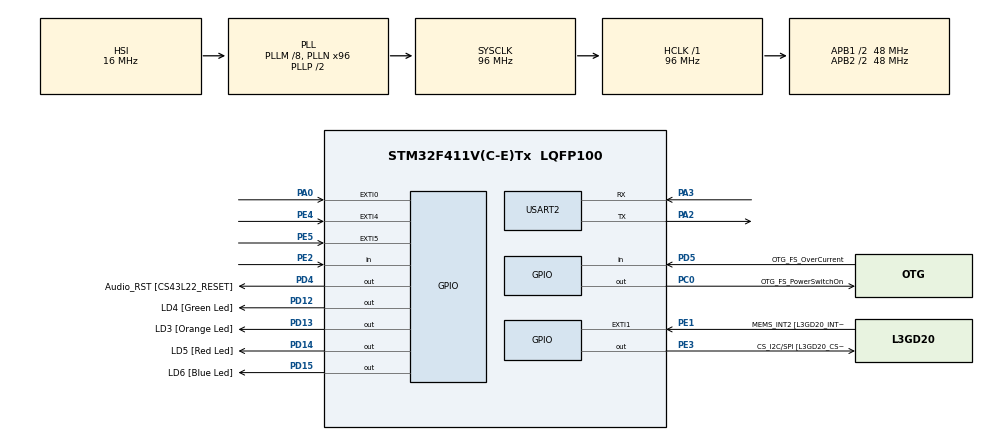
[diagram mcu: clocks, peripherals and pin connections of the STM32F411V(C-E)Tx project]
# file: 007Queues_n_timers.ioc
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Mcu.Family=STM32F4
Mcu.Name=STM32F411V(C-E)Tx
Mcu.Package=LQFP100
NVIC.EXTI0_IRQn=true\:6\:0\:true\:false\:true\:true\:true\:true
NVIC.PriorityGroup=NVIC_PRIORITYGROUP_4
NVIC.TIM5_IRQn=true\:0\:0\:false\:false\:true\:false\:true\:true
NVIC.TimeBase=TIM5_IRQn
NVIC.TimeBaseIP=TIM5
NVIC.USART2_IRQn=true\:0\:0\:false\:false\:true\:true\:true\:true
PA0-WKUP.GPIO_ModeDefaultEXTI=GPIO_MODE_IT_FALLING
PA0-WKUP.Signal=GPXTI0
PA10.GPIO_Label=OTG_FS_ID
PA10.Signal=USB_OTG_FS_ID
PA11.GPIO_Label=OTG_FS_DM
PA11.Signal=USB_OTG_FS_DM
PA12.GPIO_Label=OTG_FS_DP
PA12.Signal=USB_OTG_FS_DP
PA13.GPIO_Label=SWDIO
PA13.Signal=SYS_JTMS-SWDIO
PA14.GPIO_Label=SWCLK
PA14.Signal=SYS_JTCK-SWCLK
PA2.Mode=Asynchronous
PA2.Signal=USART2_TX
PA3.Mode=Asynchronous
PA3.Signal=USART2_RX
PA4.GPIO_Label=I2S3_WS [CS43L22_LRCK]
PA4.GPIO_Mode=GPIO_MODE_AF_PP
PA4.GPIO_PuPd=GPIO_NOPULL
PA4.GPIO_Speed=GPIO_SPEED_FREQ_LOW
PA4.Signal=I2S3_WS
PA5.GPIO_Label=SPI1_SCK [L3GD20_SC/SPC]
PA5.Signal=SPI1_SCK
PA6.GPIO_Label=SPI1_MISO [L3GD20_AS0/SDO]
PA6.Signal=SPI1_MISO
PA7.GPIO_Label=SPI1_MOSI [L3GD20_SDA/SDI/SDO]
PA7.Signal=SPI1_MOSI
PA9.GPIO_Label=VBUS_FS
PA9.Signal=USB_OTG_FS_VBUS
PB10.GPIO_Label=CLK_IN [MP45DT02_CLK]
PB10.Signal=I2S2_CK
PB12.Signal=I2S2_WS
PB3.GPIO_Label=SWO
PB3.Signal=SYS_JTDO-SWO
PB6.GPIO_Label=Audio_SCL [CS43L22_SCL]
PB6.GPIO_Mode=GPIO_MODE_AF_OD
PB6.GPIO_PuPd=GPIO_NOPULL
PB6.GPIO_Speed=GPIO_SPEED_FREQ_LOW
PB6.Signal=I2C1_SCL
PB9.GPIO_Label=Audio_SDA [CS43L22_SDA]
PB9.GPIO_Mode=GPIO_MODE_AF_OD
PB9.GPIO_PuPd=GPIO_NOPULL
PB9.GPIO_Speed=GPIO_SPEED_FREQ_LOW
PB9.Signal=I2C1_SDA
PC0.GPIO_Label=OTG_FS_PowerSwitchOn
PC0.PinState=GPIO_PIN_SET
PC0.Signal=GPIO_Output
PC10.GPIO_Label=I2S3_SCK [CS43L22_SCLK]
PC10.GPIO_Mode=GPIO_MODE_AF_PP
PC10.GPIO_PuPd=GPIO_NOPULL
PC10.GPIO_Speed=GPIO_SPEED_FREQ_LOW
PC10.Signal=I2S3_CK
PC12.GPIO_Label=I2S3_SD [CS43L22_SDIN]
PC12.GPIO_Mode=GPIO_MODE_AF_PP
PC12.GPIO_PuPd=GPIO_NOPULL
PC12.GPIO_Speed=GPIO_SPEED_FREQ_LOW
PC12.Signal=I2S3_SD
PC14-OSC32_IN.GPIO_Label=PC14-OSC32_IN
PC14-OSC32_IN.Signal=RCC_OSC32_IN
PC15-OSC32_OUT.GPIO_Label=PC15-OSC32_OUT
PC15-OSC32_OUT.Signal=RCC_OSC32_OUT
PC3.GPIO_Label=PDM_OUT [MP45DT02_DOUT]
PC3.Signal=I2S2_SD
PC7.GPIO_Label=I2S3_MCK [CS43L22_MCLK]
PC7.GPIO_Mode=GPIO_MODE_AF_PP
PC7.GPIO_PuPd=GPIO_NOPULL
PC7.GPIO_Speed=GPIO_SPEED_FREQ_LOW
PC7.Signal=I2S3_MCK
PD12.GPIO_Label=LD4 [Green Led]
PD12.GPIO_PuPd=GPIO_NOPULL
PD12.GPIO_Speed=GPIO_SPEED_FREQ_LOW
PD12.Signal=GPIO_Output
PD13.GPIO_Label=LD3 [Orange Led]
PD13.GPIO_PuPd=GPIO_NOPULL
PD13.GPIO_Speed=GPIO_SPEED_FREQ_LOW
PD13.Signal=GPIO_Output
PD14.GPIO_Label=LD5 [Red Led]
PD14.GPIO_PuPd=GPIO_NOPULL
PD14.GPIO_Speed=GPIO_SPEED_FREQ_LOW
PD14.Signal=GPIO_Output
PD15.GPIO_Label=LD6 [Blue Led]
PD15.GPIO_PuPd=GPIO_NOPULL
PD15.GPIO_Speed=GPIO_SPEED_FREQ_LOW
PD15.Signal=GPIO_Output
PD4.GPIO_Label=Audio_RST [CS43L22_RESET]
PD4.Signal=GPIO_Output
PD5.GPIO_Label=OTG_FS_OverCurrent
PD5.Signal=GPIO_Input
PE1.GPIO_Label=MEMS_INT2 [L3GD20_INT2]
PE1.GPIO_ModeDefaultEXTI=GPIO_MODE_EVT_RISING
PE1.Signal=GPXTI1
PE2.Signal=GPIO_Input
PE3.GPIO_Label=CS_I2C/SPI [L3GD20_CS_I2C/SPI]
PE3.Signal=GPIO_Output
PE4.GPIO_ModeDefaultEXTI=GPIO_MODE_EVT_RISING
PE4.Signal=GPXTI4
PE5.GPIO_ModeDefaultEXTI=GPIO_MODE_EVT_RISING
PE5.Signal=GPXTI5
PH0\ -\ OSC_IN.GPIO_Label=PH0-OSC_IN
PH0\ -\ OSC_IN.Signal=RCC_OSC_IN
PH1\ -\ OSC_OUT.GPIO_Label=PH1-OSC_OUT
PH1\ -\ OSC_OUT.Signal=RCC_OSC_OUT
ProjectManager.HeapSize=0x200
ProjectManager.StackSize=0x400
ProjectManager.TargetToolchain=STM32CubeIDE
RCC.48MHZClocksFreq_Value=24000000
RCC.AHBFreq_Value=96000000
RCC.APB1CLKDivider=RCC_HCLK_DIV2
RCC.APB1Freq_Value=48000000
RCC.APB1TimFreq_Value=96000000
RCC.APB2CLKDivider=RCC_HCLK_DIV2
RCC.APB2Freq_Value=48000000
RCC.APB2TimFreq_Value=96000000
RCC.CortexFreq_Value=96000000
RCC.HCLKFreq_Value=96000000
RCC.HSE_VALUE=8000000
RCC.HSI_VALUE=16000000
RCC.LSE_VALUE=32768
RCC.PLLI2SM=5
RCC.PLLI2SN=200
RCC.PLLM=8
RCC.PLLN=96
RCC.PLLQ=8
RCC.SYSCLKFreq_VALUE=96000000
RCC.SYSCLKSource=RCC_SYSCLKSOURCE_PLLCLK
RCC.VCOOutputFreq_Value=192000000
RTC.HourFormat=RTC_HOURFORMAT_12
USART2.VirtualMode=VM_ASYNC
VP_RTC_VS_RTC_Activate.Mode=RTC_Enabled
VP_SYS_VS_tim5.Mode=TIM5
board=STM32F411E-DISCO

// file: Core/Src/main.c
/* USER CODE BEGIN Header */
/**
  ******************************************************************************
  * @file           : main.c
  * @brief          : Main program body
  ******************************************************************************
  * @attention
  *
  * Copyright (c) 2024 STMicroelectronics.
  * All rights reserved.
  *
  * This software is licensed under terms that can be found in the LICENSE file
  * in the root directory of this software component.
  * If no LICENSE file comes with this software, it is provided AS-IS.
  *
  ******************************************************************************
  */
/* USER CODE END Header */
#include "main.h"

RTC_HandleTypeDef hrtc;
UART_HandleTypeDef huart2;

/* USER CODE BEGIN PV */
#define DWT_CTRL 				(*(volatile uint32_t *)0xE0001000)
/* USER CODE END PV */

void SystemClock_Config(void);
void led_effect_cb(TimerHandle_t xTimer);
void rtc_report_callback(TimerHandle_t xTimer);
static void MX_GPIO_Init(void);
static void MX_RTC_Init(void);
static void MX_USART2_UART_Init(void);

/* USER CODE BEGIN 0 */
TaskHandle_t handle_menu_task;
TaskHandle_t handle_cmd_task;
TaskHandle_t handle_print_task;
TaskHandle_t handle_led_task;
TaskHandle_t handle_rtc_task;

xQueueHandle qdata;
xQueueHandle qprint;

volatile uint8_t user_data;

state_t curr_state = sMainMenu;

TimerHandle_t handle_led_timer[4];
TimerHandle_t rtc_timer;
/* USER CODE END 0 */

int main(void)
{

  /* USER CODE BEGIN 1 */
  BaseType_t status;
  /* USER CODE END 1 */

  /* MCU Configuration--------------------------------------------------------*/

  /* Reset of all peripherals, Initializes the Flash interface and the Systick. */
  HAL_Init();

  /* Configure the system clock */
  SystemClock_Config();

  /* Initialize all configured peripherals */
  MX_GPIO_Init();
  MX_RTC_Init();
  MX_USART2_UART_Init();
  /* USER CODE BEGIN 2 */
  DWT_CTRL |= ( 1 << 0 );	// Enable the CyCCNT counter
  SEGGER_SYSVIEW_Conf();
  SEGGER_SYSVIEW_Start();	// Single-shot viewer

  status = xTaskCreate(menu_task, "menu_task", 250, NULL, 2, &handle_menu_task);
  configASSERT(status == pdPASS);

  status = xTaskCreate(cmd_handler_task, "cmd_task", 250, NULL, 2, &handle_cmd_task);
  configASSERT(status == pdPASS);

  status = xTaskCreate(print_task, "print_task", 250, NULL, 2, &handle_print_task);
  configASSERT(status == pdPASS);

  status = xTaskCreate(led_task, "led_task", 250, NULL, 2, &handle_led_task);
  configASSERT(status == pdPASS);

  status = xTaskCreate(rtc_task, "rtc_task", 250, NULL, 2, &handle_rtc_task);
  configASSERT(status == pdPASS);

  qdata = xQueueCreate(10, sizeof(char));
  configASSERT(qdata != NULL);

  qprint = xQueueCreate(10, sizeof(size_t));
  configASSERT(qprint != NULL);

  // Create software timer for LED effects
  for(int i = 0 ; i < 4 ; i++)
	 handle_led_timer[i] = xTimerCreate("led_timer", pdMS_TO_TICKS(500), pdTRUE, (void *)(i+1), led_effect_cb);

  rtc_timer = xTimerCreate ("rtc_report_timer", pdMS_TO_TICKS(1000), pdTRUE,NULL, rtc_report_callback);

  HAL_UART_Receive_IT(&huart2, (uint8_t *)&user_data, 1);

  vTaskStartScheduler();

  /* USER CODE END 2 */

  /* Infinite loop */
  while (1)
  {

  }
}

void SystemClock_Config(void)
{
  RCC_OscInitTypeDef RCC_OscInitStruct = {0};
  RCC_ClkInitTypeDef RCC_ClkInitStruct = {0};

  /** Configure the main internal regulator output voltage
  */
  __HAL_RCC_PWR_CLK_ENABLE();
  __HAL_PWR_VOLTAGESCALING_CONFIG(PWR_REGULATOR_VOLTAGE_SCALE1);

  /** Initializes the RCC Oscillators according to the specified parameters
  * in the RCC_OscInitTypeDef structure.
  */
  RCC_OscInitStruct.OscillatorType = RCC_OSCILLATORTYPE_HSI|RCC_OSCILLATORTYPE_LSI;
  RCC_OscInitStruct.HSIState = RCC_HSI_ON;
  RCC_OscInitStruct.HSICalibrationValue = RCC_HSICALIBRATION_DEFAULT;
  RCC_OscInitStruct.LSIState = RCC_LSI_ON;
  RCC_OscInitStruct.PLL.PLLState = RCC_PLL_ON;
  RCC_OscInitStruct.PLL.PLLSource = RCC_PLLSOURCE_HSI;
  RCC_OscInitStruct.PLL.PLLM = 8;
  RCC_OscInitStruct.PLL.PLLN = 96;
  RCC_OscInitStruct.PLL.PLLP = RCC_PLLP_DIV2;
  RCC_OscInitStruct.PLL.PLLQ = 8;
  if (HAL_RCC_OscConfig(&RCC_OscInitStruct) != HAL_OK)
  {
    Error_Handler();
  }

  /** Initializes the CPU, AHB and APB buses clocks
  */
  RCC_ClkInitStruct.ClockType = RCC_CLOCKTYPE_HCLK|RCC_CLOCKTYPE_SYSCLK
                              |RCC_CLOCKTYPE_PCLK1|RCC_CLOCKTYPE_PCLK2;
  RCC_ClkInitStruct.SYSCLKSource = RCC_SYSCLKSOURCE_PLLCLK;
  RCC_ClkInitStruct.AHBCLKDivider = RCC_SYSCLK_DIV1;
  RCC_ClkInitStruct.APB1CLKDivider = RCC_HCLK_DIV2;
  RCC_ClkInitStruct.APB2CLKDivider = RCC_HCLK_DIV2;

  if (HAL_RCC_ClockConfig(&RCC_ClkInitStruct, FLASH_LATENCY_3) != HAL_OK)
  {
    Error_Handler();
  }
}

static void MX_RTC_Init(void)
{

  /** Initialize RTC Only
  */
  hrtc.Instance = RTC;
  hrtc.Init.HourFormat = RTC_HOURFORMAT_12;
  hrtc.Init.AsynchPrediv = 127;
  hrtc.Init.SynchPrediv = 255;
  hrtc.Init.OutPut = RTC_OUTPUT_DISABLE;
  hrtc.Init.OutPutPolarity = RTC_OUTPUT_POLARITY_HIGH;
  hrtc.Init.OutPutType = RTC_OUTPUT_TYPE_OPENDRAIN;
  if (HAL_RTC_Init(&hrtc) != HAL_OK)
  {
    Error_Handler();
  }

}

static void MX_USART2_UART_Init(void)
{

  huart2.Instance = USART2;
  huart2.Init.BaudRate = 115200;
  huart2.Init.WordLength = UART_WORDLENGTH_8B;
  huart2.Init.StopBits = UART_STOPBITS_1;
  huart2.Init.Parity = UART_PARITY_NONE;
  huart2.Init.Mode = UART_MODE_TX_RX;
  huart2.Init.HwFlowCtl = UART_HWCONTROL_NONE;
  huart2.Init.OverSampling = UART_OVERSAMPLING_16;
  if (HAL_UART_Init(&huart2) != HAL_OK)
  {
    Error_Handler();
  }

}

static void MX_GPIO_Init(void)
{
  GPIO_InitTypeDef GPIO_InitStruct = {0};

  /* GPIO Ports Clock Enable */
  __HAL_RCC_GPIOE_CLK_ENABLE();
  __HAL_RCC_GPIOC_CLK_ENABLE();
  __HAL_RCC_GPIOH_CLK_ENABLE();
  __HAL_RCC_GPIOA_CLK_ENABLE();
  __HAL_RCC_GPIOB_CLK_ENABLE();
  __HAL_RCC_GPIOD_CLK_ENABLE();

  /*Configure GPIO pin Output Level */
  HAL_GPIO_WritePin(CS_I2C_SPI_GPIO_Port, CS_I2C_SPI_Pin, GPIO_PIN_RESET);

  /*Configure GPIO pin Output Level */
  HAL_GPIO_WritePin(OTG_FS_PowerSwitchOn_GPIO_Port, OTG_FS_PowerSwitchOn_Pin, GPIO_PIN_SET);

  /*Configure GPIO pin Output Level */
  HAL_GPIO_WritePin(GPIOD, LD4_Pin|LD3_Pin|LD5_Pin|LD6_Pin
                          |Audio_RST_Pin, GPIO_PIN_RESET);

  /*Configure GPIO pin : PE2 */
  GPIO_InitStruct.Pin = GPIO_PIN_2;
  GPIO_InitStruct.Mode = GPIO_MODE_INPUT;
  GPIO_InitStruct.Pull = GPIO_NOPULL;
  HAL_GPIO_Init(GPIOE, &GPIO_InitStruct);

  /*Configure GPIO pin : CS_I2C_SPI_Pin */
  GPIO_InitStruct.Pin = CS_I2C_SPI_Pin;
  GPIO_InitStruct.Mode = GPIO_MODE_OUTPUT_PP;
  GPIO_InitStruct.Pull = GPIO_NOPULL;
  GPIO_InitStruct.Speed = GPIO_SPEED_FREQ_LOW;
  HAL_GPIO_Init(CS_I2C_SPI_GPIO_Port, &GPIO_InitStruct);

  /*Configure GPIO pins : PE4 PE5 MEMS_INT2_Pin */
  GPIO_InitStruct.Pin = GPIO_PIN_4|GPIO_PIN_5|MEMS_INT2_Pin;
  GPIO_InitStruct.Mode = GPIO_MODE_EVT_RISING;
  GPIO_InitStruct.Pull = GPIO_NOPULL;
  HAL_GPIO_Init(GPIOE, &GPIO_InitStruct);

  /*Configure GPIO pin : OTG_FS_PowerSwitchOn_Pin */
  GPIO_InitStruct.Pin = OTG_FS_PowerSwitchOn_Pin;
  GPIO_InitStruct.Mode = GPIO_MODE_OUTPUT_PP;
  GPIO_InitStruct.Pull = GPIO_NOPULL;
  GPIO_InitStruct.Speed = GPIO_SPEED_FREQ_LOW;
  HAL_GPIO_Init(OTG_FS_PowerSwitchOn_GPIO_Port, &GPIO_InitStruct);

  /*Configure GPIO pin : PDM_OUT_Pin */
  GPIO_InitStruct.Pin = PDM_OUT_Pin;
  GPIO_InitStruct.Mode = GPIO_MODE_AF_PP;
  GPIO_InitStruct.Pull = GPIO_NOPULL;
  GPIO_InitStruct.Speed = GPIO_SPEED_FREQ_LOW;
  GPIO_InitStruct.Alternate = GPIO_AF5_SPI2;
  HAL_GPIO_Init(PDM_OUT_GPIO_Port, &GPIO_InitStruct);

  /*Configure GPIO pin : PA0 */
  GPIO_InitStruct.Pin = GPIO_PIN_0;
  GPIO_InitStruct.Mode = GPIO_MODE_IT_FALLING;
  GPIO_InitStruct.Pull = GPIO_NOPULL;
  HAL_GPIO_Init(GPIOA, &GPIO_InitStruct);

  /*Configure GPIO pin : I2S3_WS_Pin */
  GPIO_InitStruct.Pin = I2S3_WS_Pin;
  GPIO_InitStruct.Mode = GPIO_MODE_AF_PP;
  GPIO_InitStruct.Pull = GPIO_NOPULL;
  GPIO_InitStruct.Speed = GPIO_SPEED_FREQ_LOW;
  GPIO_InitStruct.Alternate = GPIO_AF6_SPI3;
  HAL_GPIO_Init(I2S3_WS_GPIO_Port, &GPIO_InitStruct);

  /*Configure GPIO pins : SPI1_SCK_Pin SPI1_MISO_Pin SPI1_MOSI_Pin */
  GPIO_InitStruct.Pin = SPI1_SCK_Pin|SPI1_MISO_Pin|SPI1_MOSI_Pin;
  GPIO_InitStruct.Mode = GPIO_MODE_AF_PP;
  GPIO_InitStruct.Pull = GPIO_NOPULL;
  GPIO_InitStruct.Speed = GPIO_SPEED_FREQ_VERY_HIGH;
  GPIO_InitStruct.Alternate = GPIO_AF5_SPI1;
  HAL_GPIO_Init(GPIOA, &GPIO_InitStruct);

  /*Configure GPIO pins : CLK_IN_Pin PB12 */
  GPIO_InitStruct.Pin = CLK_IN_Pin|GPIO_PIN_12;
  GPIO_InitStruct.Mode = GPIO_MODE_AF_PP;
  GPIO_InitStruct.Pull = GPIO_NOPULL;
  GPIO_InitStruct.Speed = GPIO_SPEED_FREQ_LOW;
  GPIO_InitStruct.Alternate = GPIO_AF5_SPI2;
  HAL_GPIO_Init(GPIOB, &GPIO_InitStruct);

  /*Configure GPIO pins : LD4_Pin LD3_Pin LD5_Pin LD6_Pin
                           Audio_RST_Pin */
  GPIO_InitStruct.Pin = LD4_Pin|LD3_Pin|LD5_Pin|LD6_Pin
                          |Audio_RST_Pin;
  GPIO_InitStruct.Mode = GPIO_MODE_OUTPUT_PP;
  GPIO_InitStruct.Pull = GPIO_NOPULL;
  GPIO_InitStruct.Speed = GPIO_SPEED_FREQ_LOW;
  HAL_GPIO_Init(GPIOD, &GPIO_InitStruct);

  /*Configure GPIO pins : I2S3_MCK_Pin I2S3_SCK_Pin I2S3_SD_Pin */
  GPIO_InitStruct.Pin = I2S3_MCK_Pin|I2S3_SCK_Pin|I2S3_SD_Pin;
  GPIO_InitStruct.Mode = GPIO_MODE_AF_PP;
  GPIO_InitStruct.Pull = GPIO_NOPULL;
  GPIO_InitStruct.Speed = GPIO_SPEED_FREQ_LOW;
  GPIO_InitStruct.Alternate = GPIO_AF6_SPI3;
  HAL_GPIO_Init(GPIOC, &GPIO_InitStruct);

  /*Configure GPIO pin : VBUS_FS_Pin */
  GPIO_InitStruct.Pin = VBUS_FS_Pin;
  GPIO_InitStruct.Mode = GPIO_MODE_INPUT;
  GPIO_InitStruct.Pull = GPIO_NOPULL;
  HAL_GPIO_Init(VBUS_FS_GPIO_Port, &GPIO_InitStruct);

  /*Configure GPIO pins : OTG_FS_ID_Pin OTG_FS_DM_Pin OTG_FS_DP_Pin */
  GPIO_InitStruct.Pin = OTG_FS_ID_Pin|OTG_FS_DM_Pin|OTG_FS_DP_Pin;
  GPIO_InitStruct.Mode = GPIO_MODE_AF_PP;
  GPIO_InitStruct.Pull = GPIO_NOPULL;
  GPIO_InitStruct.Speed = GPIO_SPEED_FREQ_VERY_HIGH;
  GPIO_InitStruct.Alternate = GPIO_AF10_OTG_FS;
  HAL_GPIO_Init(GPIOA, &GPIO_InitStruct);

  /*Configure GPIO pin : OTG_FS_OverCurrent_Pin */
  GPIO_InitStruct.Pin = OTG_FS_OverCurrent_Pin;
  GPIO_InitStruct.Mode = GPIO_MODE_INPUT;
  GPIO_InitStruct.Pull = GPIO_NOPULL;
  HAL_GPIO_Init(OTG_FS_OverCurrent_GPIO_Port, &GPIO_InitStruct);

  /*Configure GPIO pins : Audio_SCL_Pin Audio_SDA_Pin */
  GPIO_InitStruct.Pin = Audio_SCL_Pin|Audio_SDA_Pin;
  GPIO_InitStruct.Mode = GPIO_MODE_AF_OD;
  GPIO_InitStruct.Pull = GPIO_NOPULL;
  GPIO_InitStruct.Speed = GPIO_SPEED_FREQ_LOW;
  GPIO_InitStruct.Alternate = GPIO_AF4_I2C1;
  HAL_GPIO_Init(GPIOB, &GPIO_InitStruct);

  /* EXTI interrupt init*/
  HAL_NVIC_SetPriority(EXTI0_IRQn, 6, 0);
  HAL_NVIC_EnableIRQ(EXTI0_IRQn);

}

/* USER CODE BEGIN 4 */
void HAL_UART_RxCpltCallback(UART_HandleTypeDef *huart)
{

	for(int i = 0 ; i < 4000 ; i++);

	uint8_t msg = user_data;
	if(msg == '\r')
	{

		char cr[2] = "\n\r";
		HAL_UART_Transmit(huart, (uint8_t *)cr, 2, HAL_MAX_DELAY);

	}
	else
	{

		HAL_UART_Transmit(huart, &msg, 1, HAL_MAX_DELAY);

	}

	if(!(xQueueIsQueueFullFromISR(qdata)))
	{

		/*Queue is not full */

		/* Enqueue data byte */
		xQueueSendFromISR(qdata, (void*)&user_data, NULL);

	}
	else
	{

		/*Queue is full */

		if(user_data == '\r')
		{

			/*user_data = '\n' */

			/* Make sure that last data byte of the queue is '\n' */
			uint8_t dummy;
			xQueueReceiveFromISR(qdata, (void*)&dummy, NULL);
			xQueueSendFromISR(qdata, (void*)&user_data, NULL);

		}
	}

	/* Send notification to command handling task if user_data = '\n' */
	if(user_data == '\r')
	{

		/* Send notification to command handling task */
		xTaskNotifyFromISR(handle_cmd_task, 0, eNoAction, NULL);

	}

	/* Enable UART data byte reception again in IT mode */
	HAL_UART_Receive_IT(huart, (uint8_t *)&user_data, 1);

}

void led_effect_cb(TimerHandle_t xTimer)
{

	int id;
	id =(uint32_t)pvTimerGetTimerID(xTimer);

	switch(id)
	{

		case 1:

			LED_effect1();

		break;

		case 2:

			LED_effect2();

		break;

		case 3:

			LED_effect3();

		break;

		case 4:

			LED_effect4();

		break;

	}

}

void rtc_report_callback(TimerHandle_t xTimer)
{

	 show_time_date_itm();

}

/* USER CODE END 4 */

void HAL_TIM_PeriodElapsedCallback(TIM_HandleTypeDef *htim)
{
  if (htim->Instance == TIM5) {
    HAL_IncTick();
  }
}

void Error_Handler(void)
{
  __disable_irq();
  while (1)
  {
  }
}
